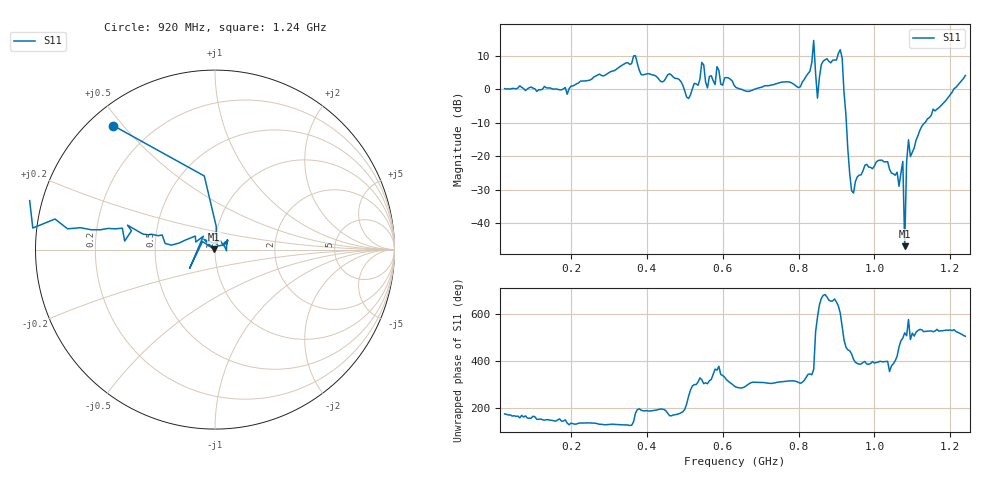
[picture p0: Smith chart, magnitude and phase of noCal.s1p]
!Created with skrf (http://scikit-rf.org).
# Hz S RI R 50.0
!freq ReS11 ImS11
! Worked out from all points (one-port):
!   244 points, 25 MHz to 1.24 GHz, reference 50 ohm
!   lowest |S11| = -46.8 dB at 1.08 GHz (marker M1), VSWR 1.01, Z = 49.6 + j0.157 ohm
!   |S11| at or under -10 dB: 926.2 MHz to 1.133 GHz (206.6 MHz wide, 20.1 % of centre)
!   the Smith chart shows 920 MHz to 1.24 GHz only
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2.5e7  -1.016 0.1209
1.8e8  -0.807 0.6145
3.3e8  -1.336 1.748
3.6e8  -1.374 1.996
3.65e8  -2.401 2.031
3.7e8  -3.172 0.2269
3.85e8  -1.641 -0.2613
4.85e8  -1.4 0.148
5.45e8  1.906 -1.644
5.6e8  0.5615 -0.8869
5.9e8  1.84 0.5495
6.35e8  0.3283 -1.016
7.85e8  0.8538 -0.8659
8.3e8  1.79 -0.5105
8.35e8  2.354 -0.8364
8.4e8  5.354 0.2785
8.45e8  -1.663 0.4955
8.55e8  0.2141 -1.479
8.7e8  2.215 -1.649
8.95e8  1.552 -2.264
9.1e8  -1.675 -3.518
9.15e8  -2.922 -0.4324
9.2e8  -0.5663 0.6905
9.4e8  0.0109 0.0287
1.075e9  -0.0617 0.057
1.08e9  -0.00428 0.00159
1.09e9  -0.1416 -0.1049
1.24e9  -1.32 0.9226
